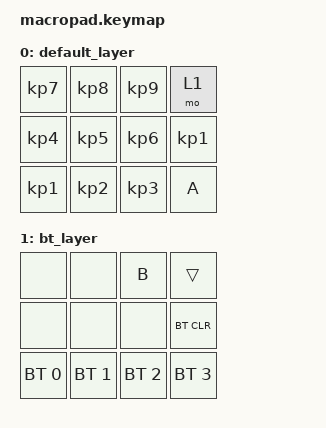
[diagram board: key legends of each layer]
#include <behaviors.dtsi>
#include <dt-bindings/zmk/bt.h>
#include <dt-bindings/zmk/keys.h>

/ {
    keymap {
        compatible = "zmk,keymap";

        default_layer {
            bindings = <
&kp KP_N7  &kp KP_N8  &kp KP_N9  &mo 1
&kp KP_N4  &kp KP_N5  &kp KP_N6  &kp KP_N1
&kp KP_N1  &kp KP_N2  &kp KP_N3  &kp A
            >;
        };

        bt_layer {
            bindings = <
&none         &none         &kp B         &trans
&none         &none         &none         &bt BT_CLR
&bt BT_SEL 0  &bt BT_SEL 1  &bt BT_SEL 2  &bt BT_SEL 3
            >;
        };
    };
};
